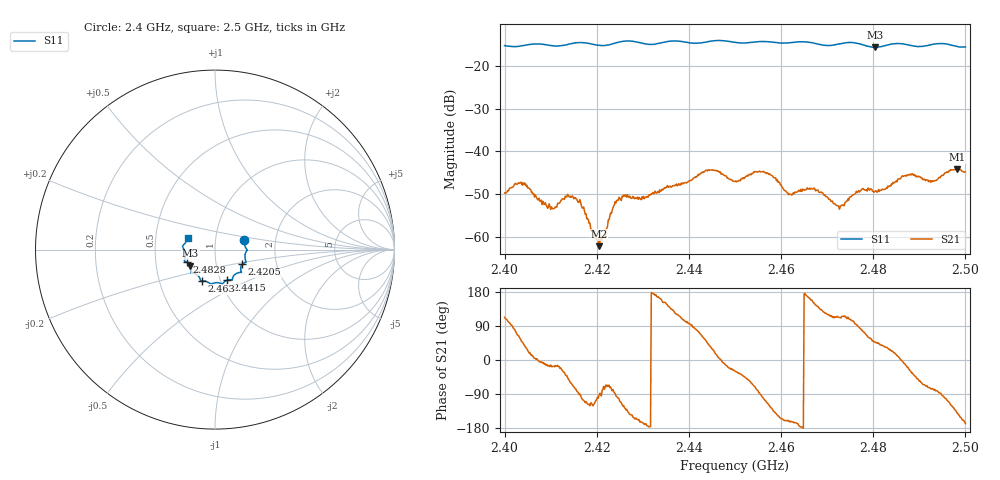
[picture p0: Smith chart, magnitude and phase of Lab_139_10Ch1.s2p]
# Hz S RI R 50
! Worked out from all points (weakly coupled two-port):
!   601 points, 2.4 GHz to 2.5 GHz, reference 50 ohm
!   highest |S21| = -44.15 dB at 2.4982 GHz (marker M1); lowest = -62.2 dB at 2.4205 GHz (marker M2)
!   lowest |S11| = -15.7 dB at 2.4803 GHz (marker M3), VSWR 1.39, Z = 37.4 - j6.83 ohm
!   |S11| at or under -10 dB: start of sweep to end of sweep
!   S12 and S22 are empty: the file has one direction only
!   S11 on the Smith chart (normalised r, x): 2.4 GHz: 1.38, +0.15; 2.4205 GHz: 1.34, -0.22; 2.4415 GHz: 1.07, -0.38; 2.463 GHz: 0.82, -0.29; 2.4828 GHz: 0.72, -0.10; 2.5 GHz: 0.73, +0.10
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2.4e9  0.1639 0.0516  -0.00126 0.00301  0 0  0 0
2.404e9  0.1714 0.00992  0.00303 0.00304  0 0  0 0
2.410333e9  0.1702 -0.0188  0.00205 -0.000652  0 0  0 0
2.413667e9  0.1685 -0.0546  0.00217 -0.00227  0 0  0 0
2.416667e9  0.173 -0.0698  -0.00039 -0.00228  0 0  0 0
2.4205e9  0.1521 -0.0816  -2.35e-05 -0.00078  0 0  0 0
2.4245e9  0.1447 -0.1184  -0.00043 -0.00265  0 0  0 0
2.433333e9  0.1004 -0.1514  -0.00332 0.000775  0 0  0 0
2.4415e9  0.0658 -0.1709  0.000771 0.00501  0 0  0 0
2.445167e9  0.0427 -0.1904  0.00542 0.00279  0 0  0 0
2.45e9  0.0242 -0.186  0.00386 -0.00218  0 0  0 0
2.455833e9  -0.0204 -0.1909  -0.000659 -0.00572  0 0  0 0
2.463e9  -0.0724 -0.1735  -0.00322 -0.000877  0 0  0 0
2.466667e9  -0.082 -0.1667  -0.00339 0.00138  0 0  0 0
2.4725e9  -0.1227 -0.1306  -0.000881 0.00213  0 0  0 0
2.477333e9  -0.1315 -0.1203  0.000478 0.00347  0 0  0 0
2.480333e9  -0.1378 -0.0889  0.00233 0.00247  0 0  0 0
2.482833e9  -0.1586 -0.0699  0.0031 0.00205  0 0  0 0
2.483333e9  -0.1624 -0.068  0.00336 0.0019  0 0  0 0
2.486833e9  -0.1694 -0.0564  0.00514 -0.000898  0 0  0 0
2.498167e9  -0.1629 0.0404  -0.00474 -0.00399  0 0  0 0
2.5e9  -0.1527 0.0644  -0.00561 -0.00125  0 0  0 0
